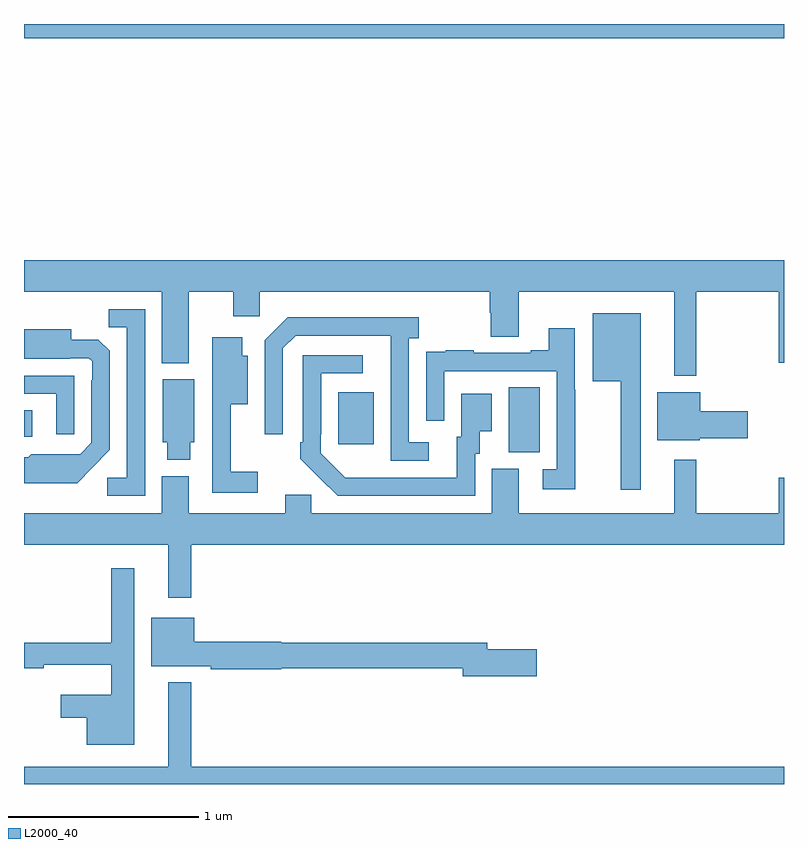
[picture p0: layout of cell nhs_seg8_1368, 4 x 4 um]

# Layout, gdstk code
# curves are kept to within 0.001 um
import gdstk
lib = gdstk.Library(unit=1e-6, precision=1e-09)
def R(c, l, rs):  # rectangles x0, y0, x1, y1
    for r in rs: c.add(gdstk.rectangle(r[:2], r[2:], *l))
def P(c, l, *ps):  # polygons
    for p in ps: c.add(gdstk.Polygon(p, *l))
L2000_40 = (2000, 40)

nhs_seg8_1368 = lib.new_cell('nhs_seg8_1368')
R(nhs_seg8_1368, L2000_40, [(199.55,1123.645,199.714,1123.988), (198.653,1123.689,198.841,1123.963), (197,1123.728,197.044,1123.868), (197,1125.824,201,1125.9)])
P(nhs_seg8_1368, L2000_40, [(197,1124.492),(197.726,1124.492),(197.726,1124.114),(197.866,1124.114),(197.866,1124.492),(198.101,1124.492),(198.101,1124.361),(198.24,1124.361),(198.24,1124.492),(199.451,1124.492),(199.451,1124.379),(199.456,1124.379),(199.456,1124.254),(199.603,1124.254),(199.603,1124.492),(200.423,1124.492),(200.423,1124.048),(200.537,1124.048),(200.537,1124.492),(200.972,1124.492),(200.972,1124.118),(201,1124.118),(201,1124.656),(197,1124.656)],
  [(197.637,1124.4),(197.446,1124.4),(197.446,1124.305),(197.541,1124.305),(197.541,1123.512),(197.439,1123.512),(197.439,1123.416),(197.637,1123.416)],
  [(200.245,1124.377),(199.994,1124.377),(199.994,1124.021),(200.141,1124.021),(200.141,1123.449),(200.245,1123.449)],
  [(199.129,1123.698),(199.026,1123.698),(199.026,1124.246),(199.078,1124.246),(199.078,1124.356),(198.388,1124.356),(198.267,1124.235),(198.267,1123.74),(198.363,1123.74),(198.363,1124.193),(198.429,1124.259),(198.929,1124.259),(198.93,1123.602),(199.129,1123.602)],
  [(199.902,1123.976),(199.899,1123.976),(199.899,1124.299),(199.763,1124.299),(199.763,1124.182),(199.667,1124.182),(199.667,1124.169),(199.367,1124.169),(199.367,1124.182),(199.219,1124.182),(199.219,1124.175),(199.117,1124.175),(199.117,1124.066),(199.116,1124.066),(199.116,1123.812),(199.212,1123.812),(199.212,1124.073),(199.803,1124.073),(199.803,1123.557),(199.731,1123.557),(199.731,1123.452),(199.902,1123.452)],
  [(197.359,1123.565),(197.451,1123.658),(197.451,1124.18),(197.392,1124.239),(197.248,1124.239),(197.248,1124.293),(197,1124.293),(197,1124.138),(197.24,1124.138),(197.24,1124.142),(197.34,1124.142),(197.358,1124.124),(197.358,1124.024),(197.355,1124.024),(197.355,1123.695),(197.295,1123.635),(197.038,1123.636),(197.022,1123.62),(197,1123.62),(197,1123.484),(197.279,1123.484)],
  [(198.229,1123.543),(198.089,1123.543),(198.089,1123.898),(198.178,1123.898),(198.178,1124.155),(198.148,1124.155),(198.148,1124.251),(197.99,1124.251),(197.99,1124.019),(197.991,1124.019),(197.991,1123.434),(198.229,1123.434)],
  [(199.374,1123.638),(199.399,1123.638),(199.399,1123.757),(199.462,1123.757),(199.462,1123.954),(199.301,1123.954),(199.301,1123.728),(199.277,1123.728),(199.277,1123.512),(198.69,1123.513),(198.561,1123.641),(198.561,1123.741),(198.564,1123.741),(198.564,1124.061),(198.784,1124.061),(198.784,1124.157),(198.468,1124.157),(198.468,1123.699),(198.453,1123.699),(198.453,1123.611),(198.65,1123.416),(199.374,1123.416)],
  [(197.265,1124.049),(197,1124.049),(197,1123.953),(197.169,1123.953),(197.169,1123.74),(197.265,1123.74)],
  [(197.875,1123.698),(197.896,1123.698),(197.896,1124.029),(197.729,1124.029),(197.729,1123.698),(197.753,1123.698),(197.753,1123.607),(197.875,1123.607)],
  [(200.556,1123.72),(200.809,1123.72),(200.809,1123.862),(200.56,1123.862),(200.56,1123.963),(200.333,1123.963),(200.333,1123.709),(200.556,1123.709)],
  [(197.881,1123.16),(201,1123.16),(201,1123.513),(200.972,1123.513),(200.972,1123.324),(200.537,1123.324),(200.537,1123.606),(200.423,1123.606),(200.423,1123.324),(199.603,1123.324),(199.603,1123.56),(199.463,1123.56),(199.463,1123.324),(198.513,1123.324),(198.513,1123.422),(198.374,1123.422),(198.374,1123.324),(197.866,1123.324),(197.866,1123.519),(197.726,1123.519),(197.726,1123.324),(197,1123.324),(197,1123.16),(197.759,1123.16),(197.759,1122.879),(197.881,1122.879)],
  [(197.581,1123.036),(197.46,1123.036),(197.46,1122.644),(197,1122.644),(197,1122.508),(197.105,1122.508),(197.105,1122.527),(197.46,1122.527),(197.46,1122.37),(197.193,1122.37),(197.193,1122.248),(197.33,1122.248),(197.33,1122.107),(197.581,1122.107)],
  [(199.699,1122.608),(199.438,1122.608),(199.438,1122.644),(198.354,1122.644),(198.354,1122.65),(197.896,1122.65),(197.896,1122.775),(197.669,1122.775),(197.669,1122.521),(197.982,1122.521),(197.982,1122.503),(198.354,1122.503),(198.354,1122.508),(199.31,1122.508),(199.31,1122.466),(199.699,1122.466)],
  [(201,1121.992),(197.881,1121.992),(197.881,1122.436),(197.759,1122.436),(197.759,1121.992),(197,1121.992),(197,1121.9),(201,1121.9)])

lib.write_gds('nhs_seg8_1368.gds')
